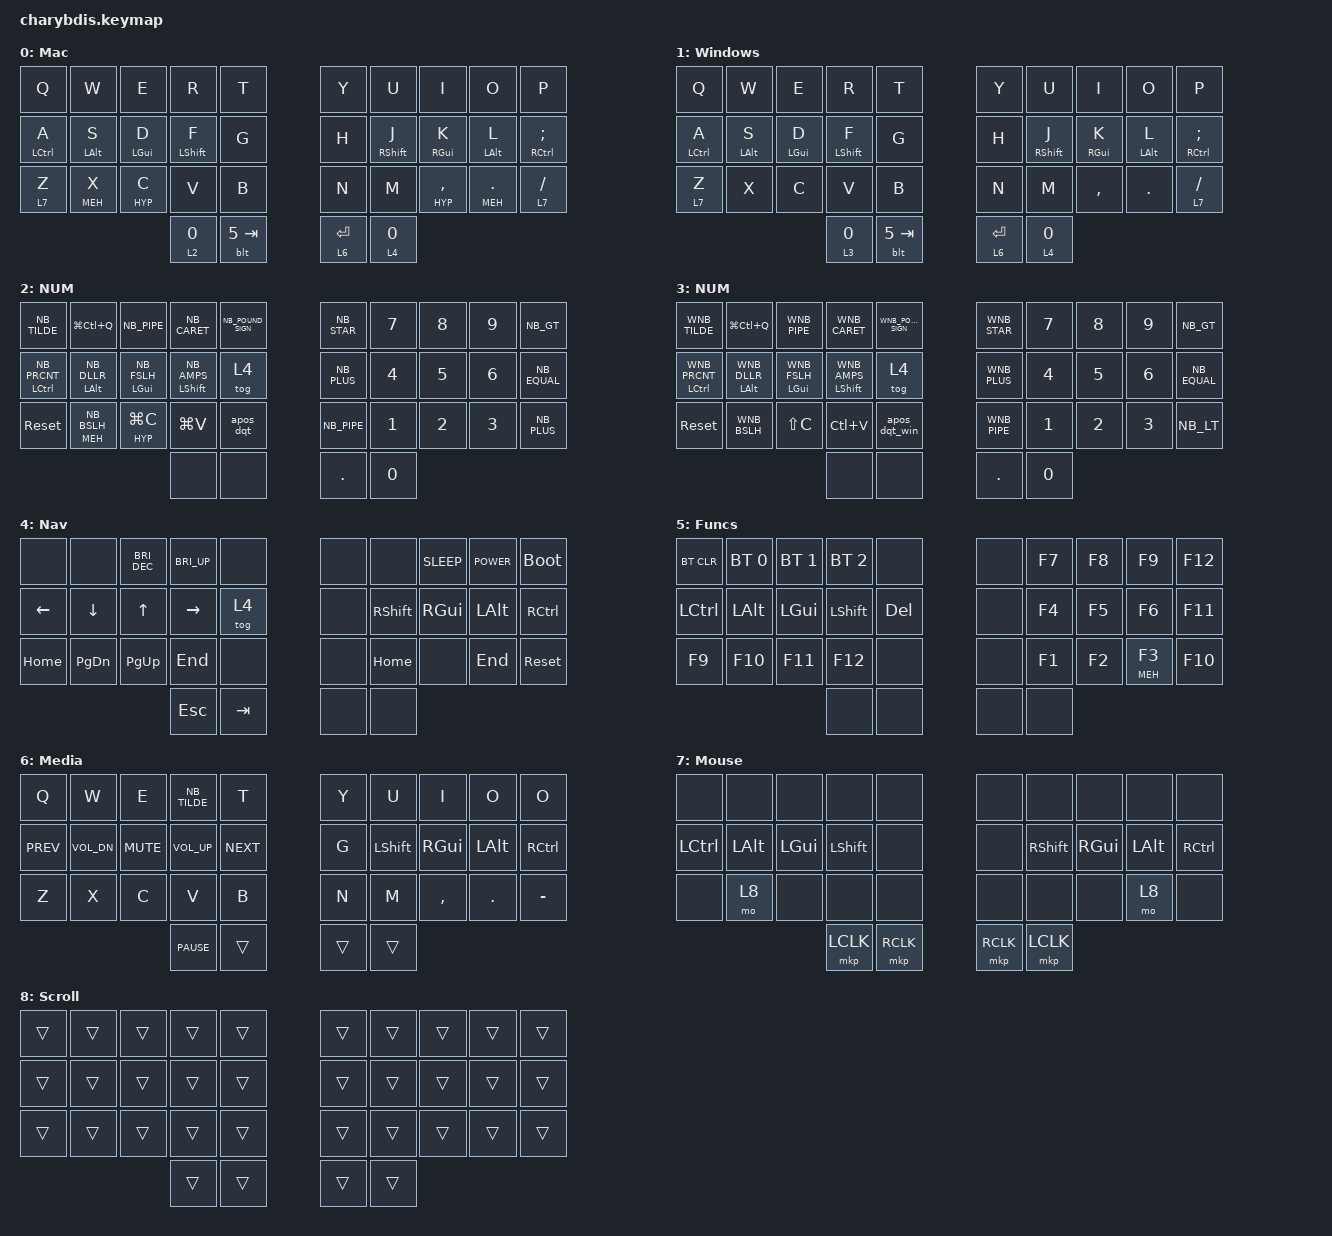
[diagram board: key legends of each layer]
#include "keys_nb_osx.h"
#include "keys_nb_win.h"
#include <behaviors.dtsi>
#include <dt-bindings/zmk/bt.h>
#include <dt-bindings/zmk/keys.h>
#include <dt-bindings/zmk/pointing.h>
#include "combos.dtsi"
#include "behaviours.dtsi"
#include "common.dtsi"

&{/combos} {
    /delete-node/ combo_v;
    /delete-node/ combo_j;
};

/ {
    chosen { zmk,matrix_transform = &five_column_transform; };
};

/ {
    keymap {
        compatible = "zmk,keymap";

        // ╔═══════════════════════════════════════════════════════════════════════════╗
        // ║                         DEFAULT LAYER (Mac)                               ║
        // ║  QWERTY base layout with home row mods                                    ║
        // ╚═══════════════════════════════════════════════════════════════════════════╝
        default {
            bindings = <
        // ╭─────────────┬─────────────┬─────────────┬─────────────┬─────────────╮   ╭─────────────┬─────────────┬─────────────┬─────────────┬─────────────╮
             &kp Q         &kp W         &kp E         &kp R         &kp T             &kp Y         &kp U         &kp I         &kp O         &kp P
        // ├─────────────┼─────────────┼─────────────┼─────────────┼─────────────┤   ├─────────────┼─────────────┼─────────────┼─────────────┼─────────────┤
             &hml LCTRL A  &hml LALT S   &hml LGUI D   &hml LSHFT F  &kp G             &kp H         &hmr RSHFT J  &hmr RGUI K   &hmr LALT L   &hmr RCTRL SEMI
        // ├─────────────┼─────────────┼─────────────┼─────────────┼─────────────┤   ├─────────────┼─────────────┼─────────────┼─────────────┼─────────────┤
             &lt 7 Z       &hml MEH X    &hml HYP C    &kp V         &kp B             &kp N         &kp M      &hmr HYP COMMA   &hmr MEH DOT &lt 7 FSLH
        // ╰─────────────┴─────────────┴─────────────┼─────────────┼─────────────┤   ├─────────────┼─────────────┼─────────────┴─────────────┴─────────────╯
                                                       &lt_spcesc 2 0 &blt 5 TAB       &lt 6 ENTER   &lt_bspc 4 0
        //                                           ╰─────────────┴─────────────╯   ╰─────────────┴─────────────╯
            >;

            display-name = "Mac";
        };

        // ╔═══════════════════════════════════════════════════════════════════════════╗
        // ║                       WINDOWS LAYER                                       ║
        // ║  QWERTY base layout for Windows                                           ║
        // ╚═══════════════════════════════════════════════════════════════════════════╝
        win {
            bindings = <
        // ╭─────────────┬─────────────┬─────────────┬─────────────┬─────────────╮   ╭─────────────┬─────────────┬─────────────┬─────────────┬─────────────╮
             &kp Q         &kp W         &kp E         &kp R         &kp T             &kp Y         &kp U         &kp I         &kp O         &kp P
        // ├─────────────┼─────────────┼─────────────┼─────────────┼─────────────┤   ├─────────────┼─────────────┼─────────────┼─────────────┼─────────────┤
             &hml LCTRL A  &hml LALT S   &hml LGUI D   &hml LSHFT F  &kp G             &kp H         &hmr RSHFT J  &hmr RGUI K   &hmr LALT L   &hmr RCTRL SEMI
        // ├─────────────┼─────────────┼─────────────┼─────────────┼─────────────┤   ├─────────────┼─────────────┼─────────────┼─────────────┼─────────────┤
             &lt 7 Z       &kp X         &kp C         &kp V         &kp B             &kp N         &kp M         &kp COMMA     &kp DOT       &lt 7 FSLH
        // ╰─────────────┴─────────────┴─────────────┼─────────────┼─────────────┤   ├─────────────┼─────────────┼─────────────┴─────────────┴─────────────╯
                                                       &lt_spcesc 3 0 &blt 5 TAB       &lt 6 ENTER   &lt_bspc 4 0
        //                                           ╰─────────────┴─────────────╯   ╰─────────────┴─────────────╯
            >;

            display-name = "Windows";
        };

        // ╔═══════════════════════════════════════════════════════════════════════════╗
        // ║                         NUMBERS LAYER (Mac)                               ║
        // ║  Number pad on right, symbols on left                                     ║
        // ╚═══════════════════════════════════════════════════════════════════════════╝
        numbers {
            bindings = <
        // ╭─────────────┬─────────────┬─────────────┬─────────────┬─────────────╮   ╭─────────────┬─────────────┬─────────────┬─────────────┬─────────────╮
             &kp NB_TILDE  &kp LG(LC(Q)) &kp NB_PIPE   &kp NB_CARET  &kp NB_POUND_SIGN &kp NB_STAR   &kp N7        &kp N8        &kp N9        &kp NB_GT
        // ├─────────────┼─────────────┼─────────────┼─────────────┼─────────────┤   ├─────────────┼─────────────┼─────────────┼─────────────┼─────────────┤
             &hml LCTRL NB_PRCNT &hml LALT NB_DLLR &hml LGUI NB_FSLH &hml LSHFT NB_AMPS &tog 4   &kp NB_PLUS   &kp N4   &kp N5   &kp N6        &kp NB_EQUAL
        // ├─────────────┼─────────────┼─────────────┼─────────────┼─────────────┤   ├─────────────┼─────────────┼─────────────┼─────────────┼─────────────┤
             &sys_reset &hml MEH NB_BSLH &hml HYP LG(C) &kp LG(V)     &apos_dqt       &kp NB_PIPE   &kp N1        &kp N2        &kp N3        &kp NB_PLUS
        // ╰─────────────┴─────────────┴─────────────┼─────────────┼─────────────┤   ├─────────────┼─────────────┼─────────────┴─────────────┴─────────────╯
                                                       &none         &none             &kp DOT       &kp N0
        //                                           ╰─────────────┴─────────────╯   ╰─────────────┴─────────────╯
            >;

            display-name = "NUM";
        };

        // ╔═══════════════════════════════════════════════════════════════════════════╗
        // ║                      NUMBERS LAYER (Windows)                              ║
        // ║  Number pad on right, symbols on left (Windows keycodes)                  ║
        // ╚═══════════════════════════════════════════════════════════════════════════╝
        num_win {
            bindings = <
        // ╭─────────────┬─────────────┬─────────────┬─────────────┬─────────────╮   ╭─────────────┬─────────────┬─────────────┬─────────────┬─────────────╮
             &kp WNB_TILDE &kp LG(LC(Q)) &kp WNB_PIPE  &kp WNB_CARET &kp WNB_POUND_SIGN &kp WNB_STAR  &kp N7        &kp N8        &kp N9        &kp NB_GT
        // ├─────────────┼─────────────┼─────────────┼─────────────┼─────────────┤   ├─────────────┼─────────────┼─────────────┼─────────────┼─────────────┤
             &hml LCTRL WNB_PRCNT &hml LALT WNB_DLLR &hml LGUI WNB_FSLH &hml LSHFT WNB_AMPS &tog 4  &kp WNB_PLUS  &kp N4        &kp N5        &kp N6        &kp NB_EQUAL
        // ├─────────────┼─────────────┼─────────────┼─────────────┼─────────────┤   ├─────────────┼─────────────┼─────────────┼─────────────┼─────────────┤
             &sys_reset    &kp WNB_BSLH  &kp LS(C)     &kp LC(V)     &apos_dqt_win     &kp WNB_PIPE  &kp N1        &kp N2        &kp N3        &kp NB_LT
        // ╰─────────────┴─────────────┴─────────────┼─────────────┼─────────────┤   ├─────────────┼─────────────┼─────────────┴─────────────┴─────────────╯
                                                       &none         &none             &kp DOT       &kp N0
        //                                           ╰─────────────┴─────────────╯   ╰─────────────┴─────────────╯
            >;

            display-name = "NUM";
        };

        // ╔═══════════════════════════════════════════════════════════════════════════╗
        // ║                         NAVIGATION LAYER                                  ║
        // ║  Arrow keys, page navigation, brightness, power controls                  ║
        // ╚═══════════════════════════════════════════════════════════════════════════╝
        nav {
            bindings = <
        // ╭─────────────┬─────────────┬─────────────┬─────────────┬─────────────╮   ╭─────────────┬─────────────┬─────────────┬─────────────┬─────────────╮
             &none         &none         &kp C_BRI_DEC &kp C_BRI_UP  &none             &none         &none         &kp C_SLEEP   &kp C_POWER   &bootloader
        // ├─────────────┼─────────────┼─────────────┼─────────────┼─────────────┤   ├─────────────┼─────────────┼─────────────┼─────────────┼─────────────┤
             &kp LEFT      &kp DOWN      &kp UP        &kp RIGHT     &tog 4            &none         &kp RSHFT     &kp RGUI      &kp LALT      &kp RCTRL
        // ├─────────────┼─────────────┼─────────────┼─────────────┼─────────────┤   ├─────────────┼─────────────┼─────────────┼─────────────┼─────────────┤
             &kp HOME      &kp PG_DN     &kp PG_UP     &kp END       &none             &none         &kp HOME      &none         &kp END       &sys_reset
        // ╰─────────────┴─────────────┴─────────────┼─────────────┼─────────────┤   ├─────────────┼─────────────┼─────────────┴─────────────┴─────────────╯
                                                       &kp ESC       &kp TAB           &none         &none
        //                                           ╰─────────────┴─────────────╯   ╰─────────────┴─────────────╯
            >;

            display-name = "Nav";
        };

        // ╔═══════════════════════════════════════════════════════════════════════════╗
        // ║                        FUNCTION KEYS LAYER                                ║
        // ║  Function keys (F1-F12) and Bluetooth controls                            ║
        // ╚═══════════════════════════════════════════════════════════════════════════╝
        fn {
            bindings = <
        // ╭─────────────┬─────────────┬─────────────┬─────────────┬─────────────╮   ╭─────────────┬─────────────┬─────────────┬─────────────┬─────────────╮
             &bt BT_CLR    &bt BT_SEL 0  &bt BT_SEL 1  &bt BT_SEL 2  &none             &none         &kp F7        &kp F8        &kp F9        &kp F12
        // ├─────────────┼─────────────┼─────────────┼─────────────┼─────────────┤   ├─────────────┼─────────────┼─────────────┼─────────────┼─────────────┤
             &kp LCTRL     &kp LALT      &kp LGUI      &kp LSHIFT    &kp DEL           &none         &kp F4        &kp F5        &kp F6        &kp F11
        // ├─────────────┼─────────────┼─────────────┼─────────────┼─────────────┤   ├─────────────┼─────────────┼─────────────┼─────────────┼─────────────┤
             &kp F9        &kp F10       &kp F11       &kp F12       &none             &none         &kp F1        &kp F2        &hmr MEH F3   &kp F10
        // ╰─────────────┴─────────────┴─────────────┼─────────────┼─────────────┤   ├─────────────┼─────────────┼─────────────┴─────────────┴─────────────╯
                                                       &none         &none             &none         &none
        //                                           ╰─────────────┴─────────────╯   ╰─────────────┴─────────────╯
            >;

            display-name = "Funcs";
        };

        // ╔═══════════════════════════════════════════════════════════════════════════╗
        // ║                          MEDIA LAYER                                      ║
        // ║  Media playback controls and volume                                       ║
        // ╚═══════════════════════════════════════════════════════════════════════════╝
        controls {
            bindings = <
        // ╭─────────────┬─────────────┬─────────────┬─────────────┬─────────────╮   ╭─────────────┬─────────────┬─────────────┬─────────────┬─────────────╮
             &kp Q         &kp W         &kp E         &kp NB_TILDE  &kp T             &kp Y         &kp U         &kp I         &kp O         &kp O
        // ├─────────────┼─────────────┼─────────────┼─────────────┼─────────────┤   ├─────────────┼─────────────┼─────────────┼─────────────┼─────────────┤
             &kp C_PREV    &kp C_VOL_DN  &kp C_MUTE    &kp C_VOL_UP  &kp C_NEXT        &kp G         &kp LSHFT     &kp RGUI      &kp LALT      &kp RCTRL
        // ├─────────────┼─────────────┼─────────────┼─────────────┼─────────────┤   ├─────────────┼─────────────┼─────────────┼─────────────┼─────────────┤
             &kp Z         &kp X         &kp C         &kp V         &kp B             &kp N         &kp M         &kp COMMA     &kp DOT       &kp MINUS
        // ╰─────────────┴─────────────┴─────────────┼─────────────┼─────────────┤   ├─────────────┼─────────────┼─────────────┴─────────────┴─────────────╯
                                                       &kp C_PAUSE   &trans            &trans        &trans
        //                                           ╰─────────────┴─────────────╯   ╰─────────────┴─────────────╯
            >;

            display-name = "Media";
        };

        // ╔═══════════════════════════════════════════════════════════════════════════╗
        // ║                          MOUSE LAYER                                      ║
        // ║  Mouse button controls (use trackball for movement)                       ║
        // ╚═══════════════════════════════════════════════════════════════════════════╝
        mouse {
            bindings = <
        // ╭─────────────┬─────────────┬─────────────┬─────────────┬─────────────╮   ╭─────────────┬─────────────┬─────────────┬─────────────┬─────────────╮
             &none         &none         &none         &none         &none             &none         &none         &none         &none         &none
        // ├─────────────┼─────────────┼─────────────┼─────────────┼─────────────┤   ├─────────────┼─────────────┼─────────────┼─────────────┼─────────────┤
             &kp LCTRL     &kp LALT      &kp LGUI      &kp LSHIFT    &none             &none         &kp RSHFT     &kp RGUI      &kp LALT      &kp RCTRL
        // ├─────────────┼─────────────┼─────────────┼─────────────┼─────────────┤   ├─────────────┼─────────────┼─────────────┼─────────────┼─────────────┤
             &none         &mo 8         &none         &none         &none             &none         &none         &none         &mo 8         &none
        // ╰─────────────┴─────────────┴─────────────┼─────────────┼─────────────┤   ├─────────────┼─────────────┼─────────────┴─────────────┴─────────────╯
                                                       &mkp LCLK     &mkp RCLK         &mkp RCLK     &mkp LCLK
        //                                           ╰─────────────┴─────────────╯   ╰─────────────┴─────────────╯
            >;
            display-name = "Mouse";
        };

        // ╔═══════════════════════════════════════════════════════════════════════════╗
        // ║                         SCROLL LAYER                                      ║
        // ║  Scroll mode for trackball (all keys transparent)                         ║
        // ╚═══════════════════════════════════════════════════════════════════════════╝
        scrolly_moly {
            bindings = <
        // ╭─────────────┬─────────────┬─────────────┬─────────────┬─────────────╮   ╭─────────────┬─────────────┬─────────────┬─────────────┬─────────────╮
             &trans        &trans        &trans        &trans        &trans            &trans        &trans        &trans        &trans        &trans
        // ├─────────────┼─────────────┼─────────────┼─────────────┼─────────────┤   ├─────────────┼─────────────┼─────────────┼─────────────┼─────────────┤
             &trans        &trans        &trans        &trans        &trans            &trans        &trans        &trans        &trans        &trans
        // ├─────────────┼─────────────┼─────────────┼─────────────┼─────────────┤   ├─────────────┼─────────────┼─────────────┼─────────────┼─────────────┤
             &trans        &trans        &trans        &trans        &trans            &trans        &trans        &trans        &trans        &trans
        // ╰─────────────┴─────────────┴─────────────┼─────────────┼─────────────┤   ├─────────────┼─────────────┼─────────────┴─────────────┴─────────────╯
                                                       &trans        &trans            &trans        &trans
        //                                           ╰─────────────┴─────────────╯   ╰─────────────┴─────────────╯
            >;
            display-name = "Scroll";
        };
    };
};
